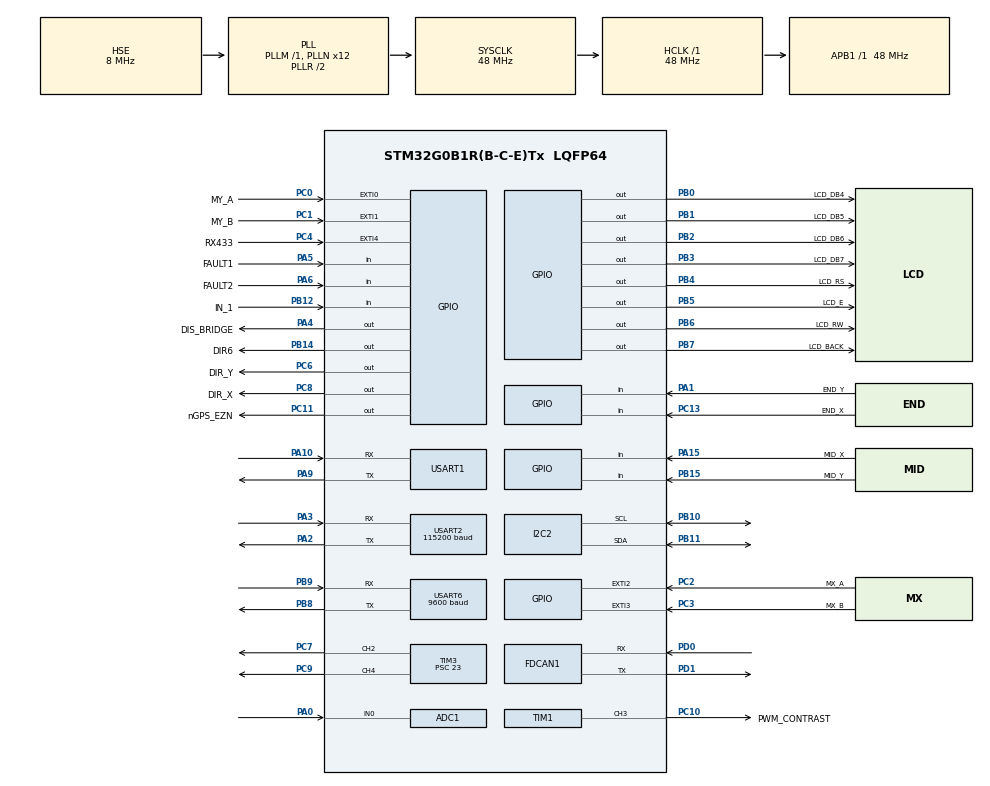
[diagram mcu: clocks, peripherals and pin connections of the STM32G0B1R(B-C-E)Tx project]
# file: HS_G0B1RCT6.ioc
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ADC1.Channel-0\#ChannelRegularConversion=ADC_CHANNEL_0
ADC1.NbrOfConversionFlag=1
ADC1.Rank-0\#ChannelRegularConversion=1
ADC1.SamplingTime=ADC1_SAMPLETIME_55CYCLES_5
ADC1.SamplingTime-0\#ChannelRegularConversion=ADC_SAMPLINGTIME_COMMON_1
ADC1.SelectedChannel=ADC_CHANNEL_0
ADC1.master=1
CRC.InputDataFormat=CRC_INPUTDATA_FORMAT_WORDS
FDCAN1.AutoRetransmission=ENABLE
FDCAN1.CalculateBaudRateNominal=125000
FDCAN1.CalculateTimeBitNominal=8000
FDCAN1.CalculateTimeQuantumNominal=500.0
FDCAN1.DataTimeSeg1=13
FDCAN1.DataTimeSeg2=2
FDCAN1.NominalPrescaler=24
FDCAN1.NominalTimeSeg1=13
FDCAN1.NominalTimeSeg2=2
FDCAN1.TxFifoQueueMode=FDCAN_TX_QUEUE_OPERATION
I2C2.Timing=0x10805D88
IWDG.Prescaler=IWDG_PRESCALER_32
Mcu.Family=STM32G0
Mcu.Name=STM32G0B1R(B-C-E)Tx
Mcu.Package=LQFP64
NVIC.EXTI0_1_IRQn=true\:0\:0\:false\:false\:true\:true\:true\:true
NVIC.EXTI2_3_IRQn=true\:0\:0\:false\:false\:true\:true\:true\:true
NVIC.EXTI4_15_IRQn=true\:1\:0\:true\:false\:true\:true\:true\:true
NVIC.TIM16_FDCAN_IT0_IRQn=true\:0\:0\:false\:false\:true\:true\:true\:true
NVIC.TIM6_DAC_LPTIM1_IRQn=true\:0\:0\:false\:false\:true\:true\:true\:true
NVIC.USART1_IRQn=true\:1\:0\:true\:false\:true\:true\:true\:true
NVIC.USART2_LPUART2_IRQn=true\:0\:0\:false\:false\:true\:true\:true\:true
NVIC.USART3_4_5_6_LPUART1_IRQn=true\:0\:0\:false\:false\:true\:true\:true\:true
PA0.Mode=IN0
PA0.Signal=ADC1_IN0
PA1.GPIO_Label=END_Y
PA1.Signal=GPIO_Input
PA10.Mode=Asynchronous
PA10.Signal=USART1_RX
PA13.Mode=Serial_Wire
PA13.Signal=SYS_SWDIO
PA14-BOOT0.Mode=Serial_Wire
PA14-BOOT0.Signal=SYS_SWCLK
PA15.GPIO_Label=MID_X
PA15.Signal=GPIO_Input
PA2.Mode=Asynchronous
PA2.Signal=USART2_TX
PA3.Mode=Asynchronous
PA3.Signal=USART2_RX
PA4.GPIO_Label=DIS_BRIDGE
PA4.PinState=GPIO_PIN_SET
PA4.Signal=GPIO_Output
PA5.GPIO_Label=FAULT1
PA5.Signal=GPIO_Input
PA6.GPIO_Label=FAULT2
PA6.GPIO_PuPd=GPIO_PULLUP
PA6.Signal=GPIO_Input
PA9.Mode=Asynchronous
PA9.Signal=USART1_TX
PB0.GPIO_Label=LCD_DB4
PB0.Signal=GPIO_Output
PB1.GPIO_Label=LCD_DB5
PB1.Signal=GPIO_Output
PB10.GPIO_Pu=GPIO_PULLUP
PB10.Mode=I2C
PB10.Signal=I2C2_SCL
PB11.GPIO_Pu=GPIO_PULLUP
PB11.Mode=I2C
PB11.Signal=I2C2_SDA
PB12.GPIO_Label=IN_1
PB12.Signal=GPIO_Input
PB14.GPIO_Label=DIR6
PB14.Signal=GPIO_Output
PB15.GPIO_Label=MID_Y
PB15.Signal=GPIO_Input
PB2.GPIO_Label=LCD_DB6
PB2.Signal=GPIO_Output
PB3.GPIO_Label=LCD_DB7
PB3.Signal=GPIO_Output
PB4.GPIO_Label=LCD_RS
PB4.Signal=GPIO_Output
PB5.GPIO_Label=LCD_E
PB5.Signal=GPIO_Output
PB6.GPIO_Label=LCD_RW
PB6.Signal=GPIO_Output
PB7.GPIO_Label=LCD_BACK
PB7.Signal=GPIO_Output
PB8.Mode=Asynchronous
PB8.Signal=USART6_TX
PB9.Mode=Asynchronous
PB9.Signal=USART6_RX
PC0.GPIO_Label=MY_A
PC0.GPIO_ModeDefaultEXTI=GPIO_MODE_IT_RISING_FALLING
PC0.Signal=GPXTI0
PC1.GPIO_Label=MY_B
PC1.GPIO_ModeDefaultEXTI=GPIO_MODE_IT_RISING_FALLING
PC1.Signal=GPXTI1
PC10.GPIO_Label=PWM_CONTRAST
PC10.Signal=S_TIM1_CH3
PC11.GPIO_Label=nGPS_EZN
PC11.Signal=GPIO_Output
PC13.GPIO_Label=END_X
PC13.Signal=GPIO_Input
PC14-OSC32_IN\ (PC14).Mode=LSE-External-Oscillator
PC14-OSC32_IN\ (PC14).Signal=RCC_OSC32_IN
PC15-OSC32_OUT\ (PC15).Mode=LSE-External-Oscillator
PC15-OSC32_OUT\ (PC15).Signal=RCC_OSC32_OUT
PC2.GPIO_Label=MX_A
PC2.GPIO_ModeDefaultEXTI=GPIO_MODE_IT_RISING_FALLING
PC2.Signal=GPXTI2
PC3.GPIO_Label=MX_B
PC3.GPIO_ModeDefaultEXTI=GPIO_MODE_IT_RISING_FALLING
PC3.Signal=GPXTI3
PC4.GPIO_Label=RX433
PC4.GPIO_ModeDefaultEXTI=GPIO_MODE_IT_RISING_FALLING
PC4.Signal=GPXTI4
PC6.GPIO_Label=DIR_Y
PC6.Signal=GPIO_Output
PC7.Signal=S_TIM3_CH2
PC8.GPIO_Label=DIR_X
PC8.Signal=GPIO_Output
PC9.Signal=S_TIM3_CH4
PD0.Mode=FDCAN_Activate
PD0.Signal=FDCAN1_RX
PD1.Mode=FDCAN_Activate
PD1.Signal=FDCAN1_TX
PF0-OSC_IN\ (PF0).Mode=HSE-External-Oscillator
PF0-OSC_IN\ (PF0).Signal=RCC_OSC_IN
PF1-OSC_OUT\ (PF1).Mode=HSE-External-Oscillator
PF1-OSC_OUT\ (PF1).Signal=RCC_OSC_OUT
ProjectManager.HeapSize=0x200
ProjectManager.StackSize=0x400
ProjectManager.TargetToolchain=STM32CubeIDE
RCC.ADCFreq_Value=48000000
RCC.AHBFreq_Value=48000000
RCC.APB1Freq_Value=48000000
RCC.APB1TimFreq_Value=48000000
RCC.CortexFreq_Value=48000000
RCC.EXTERNAL_CLOCK_VALUE=48000
RCC.HCLKFreq_Value=48000000
RCC.HSE_VALUE=8000000
RCC.HSI48_VALUE=48000000
RCC.HSI_VALUE=16000000
RCC.LSE_Timout=10000
RCC.PLLMUL=RCC_PLL_MUL6
RCC.PLLN=12
RCC.PLLSourceVirtual=RCC_PLLSOURCE_HSE
RCC.RTCClockSelection=RCC_RTCCLKSOURCE_LSE
RCC.SYSCLKFreq_VALUE=48000000
RCC.SYSCLKSource=RCC_SYSCLKSOURCE_PLLCLK
RCC.USBFreq_Value=48000000
RCC.VCOOutputFreq_Value=96000000
SH.S_TIM1_CH3.0=TIM1_CH3,PWM Generation3 CH3
SH.S_TIM3_CH2.0=TIM3_CH2,PWM Generation2 CH2
SH.S_TIM3_CH4.0=TIM3_CH4,PWM Generation4 CH4
TIM1.Channel-PWM\ Generation3\ CH3=TIM_CHANNEL_3
TIM1.Period=99
TIM1.Prescaler=23
TIM16.Period=4999
TIM16.Prescaler=47
TIM3.Channel-PWM\ Generation2\ CH2=TIM_CHANNEL_2
TIM3.Channel-PWM\ Generation4\ CH4=TIM_CHANNEL_4
TIM3.Period=99
TIM3.Prescaler=23
TIM6.Period=60000
TIM6.Prescaler=95
USART1.VirtualMode-Asynchronous=VM_ASYNC
USART2.BaudRate=115200
USART2.VirtualMode-Asynchronous=VM_ASYNC
USART6.BaudRate=9600
USART6.VirtualMode-Asynchronous=VM_ASYNC
VP_CRC_VS_CRC.Mode=CRC_Activate
VP_IWDG_VS_IWDG.Mode=IWDG_Activate
VP_RTC_VS_RTC_Activate.Mode=RTC_Enabled
VP_SYS_VS_DBSignals.Mode=DisableDeadBatterySignals
VP_TIM16_VS_ClockSourceINT.Mode=Enable_Timer
VP_TIM6_VS_ClockSourceINT.Mode=Enable_Timer
board=custom

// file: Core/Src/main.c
/* USER CODE BEGIN Header */
/**
 ******************************************************************************
 * @file           : main.c
 * @brief          : Main program body
 ******************************************************************************
 * @attention
 *
 * <h2><center>&copy; Copyright (c) 2019 STMicroelectronics.
 * All rights reserved.</center></h2>
 *
 * This software component is licensed by ST under BSD 3-Clause license,
 * the "License"; You may not use this file except in compliance with the
 * License. You may obtain a copy of the License at:
 *                        opensource.org/licenses/BSD-3-Clause
 *
 ******************************************************************************
 */
/* USER CODE END Header */
#include "main.h"
#include "adc.h"
#include "crc.h"
#include "fdcan.h"
#include "i2c.h"
#include "iwdg.h"
#include "rtc.h"
#include "tim.h"
#include "usart.h"
#include "gpio.h"

/* USER CODE BEGIN Includes */
#include "vars.h"
#include "shell.h"
#include "time.h"
#include "gps.h"
#include "motors.h"
#include "machine.h"
#include "remote.h"
#include "uart_sci.h"
#include "build_display.h"
#include "external_io.h"
#include "protection.h"
#include "can_functions.h"
#ifdef ENABLE_MODBUS
#include "modbus_cmd.h"
#endif

/* USER CODE END Includes */

/* USER CODE BEGIN PTD */

/*
 *
 *  _    _          _   _                 _                     _
 * | |  | |        | | (_)               | |                   | |
 * | |__| |   ___  | |  _    ___    ___  | |_    __ _    __ _  | |_
 * |  __  |  / _ \ | | | |  / _ \  / __| | __|  / _` |  / _` | | __|
 * | |  | | |  __/ | | | | | (_) | \__ \ | |_  | (_| | | (_| | | |_
 * |_|  |_|  \___| |_| |_|  \___/  |___/  \__|  \__,_|  \__,_|  \__|

 DESCRIPTION: Suntrack controller version 5.00

 REMARKS:

 arm-none-eabi-objcopy -O binary "${BuildArtifactFileBaseName}.elf" "${BuildArtifactFileBaseName}.bin" && arm-none-eabi-size "${BuildArtifactFileName}";${ProjDirPath}/writeCRC.exe "${BuildArtifactFileBaseName}.bin"

 - note: the CAN receiver has to be occupied, else startup delays

 NOTES
 CPU freq 48 Mhz
 Uart1 Onboard FTDI 115200
 Uart2 Modbus 115200
 Uart6 GPS 9600

 IRQ0	Y ENC_A
 IRQ1	Y ENC_B
 IRQ2	X ENC_A
 IRQ3	X ENC_A
 IRQ4 	RX_433
 IRQ12	BLE

 SPI0 3.0 mhz For motor debug
 I2C for eerom
 IWDT 40khz/4095/32 = 1.2 sec
 Timer3 PWM 20Khz 4ch Motors
 Timer16 PWM Remote control 5ms IRQ
 Timer17 contrast negative voltage generation

 TOOLS
 - CubeMX 6.1.1
 - AC6 System Workbench

 - HAL driver F0 V1.11.2

 PRINCIPE
 0x08000000 Bootloader 16K
 0x08004000 Application 24kb

 VERSION OVERVIEW:
 4.XX
 - early versions on Microchip 18F6722
 5.00 31-8-2019
 - fist edition
 - Save target screen change
 - manual adjust smaller jumps.
 5.01
 - disable UART2 when GPS poweroff
 5.02
 - enable remote after 5 second on ENDX/Y
 5.03
 - readout protection level 1
 5.04
 - tracking interval 10 seconds
 5.05
 - flexible hysterese
 5.06
 - counter clockwise mode 2 improved
 6.00
 - adoption for G070
 6.01
 -
 6.02
 - for both bridge drivers
 - solved the 4 missing chars of LCD
 - contrast default 30
 6.03
 - encoder debounce 1ms
 6.04
 - encoder debounce 2ms
 6.05
 - more windinfo on 'windpulse' command
 - only abort operating modes on maxwind.
 6.06
 - command targettime tg 23:00 for times actions
 - saving sun on target only if GPS sync
 - after factory sun and max first need to be set else 'please configure'
 - two remote controls possible
 - updated shell
 - target 1..5 by remote control 5..16 by command line
 6.07
 - added command turnback, the angle decidecrees it turn back at the end
 - optional Modbus, switched by changing the printing function pointer
 6.08
 - when max_windpulse is zero, disable wind function.
 6.09
 - at saving positions the maximum learned values has to be at least 10 decrees.
 - debouncing encoder uses not equal instead of +1ms for rollover risk
 - HAL Driver G0 V1.6.1
 - init disable bridge to off
 6.10
 - goto park not on sundown but on: out of range
 - limited motor power when goto park/ start of the day, default 50%
 6.11
 - debouncing the end switches
 - when position is out of learned values show calib hor/vert
 - global variables instead of pointer to them
 6.12
 - vars.max_pwm needs to be initialisized, starting the system with sundown went wrong
 6.13
 - Allow both GPRMC and GNRMC GPS/ GLONASS
 - no parking in Stop mode
 6.14
 - error on LCD if too long on end switch
 6.15
 - timers to 32, problem with zero detection
 6.16
 - modbus uses also 16 targets
 - more modbus commands
 7.00
 - moving to 256K micro and used Sampa for SUN and MOON calculation, CAN and Modbus (RS485)

 *
 */

/* USER CODE END PTD */

/* USER CODE BEGIN PV */
/* Private variables ---------------------------------------------------------*/

// Globals
vars_t vars;

/* USER CODE END PV */

void SystemClock_Config(void);
/* USER CODE BEGIN PFP */
/* Private function prototypes -----------------------------------------------*/
void SystemClock_Config(void);
static HAL_StatusTypeDef SetRDPLevel1(void);
static void printf_bridge_fault(void);

/* USER CODE END PFP */

/* USER CODE BEGIN 0 */

volatile const app_info_t __attribute__((section (".mySection"))) c_app_info =
{ .key = APP_KEY,    // Key
		.version = VERSION,    // Version
		.crc32 = 0xFFFFFFFF, // CCITT-CRC32
		.size = 0xFFFFFFFF, // File size
		.build_date = __DATE__,   // Build date
		.build_time = __TIME__,   // Build time
		. dummy =
		{ 0xFF, 0xFF, 0xFF } };

/* USER CODE END 0 */

int main(void)
{

  /* USER CODE BEGIN 1 */
	extern uint32_t _main_app_start_address;
	uint32_t AppAddr = (uint32_t) &_main_app_start_address;
	uint32_t *ram_key = (uint32_t*) RAM_KEY;

	char ch;

	// Vector relocatie
	SCB->VTOR = AppAddr;

  /* USER CODE END 1 */

  /* MCU Configuration--------------------------------------------------------*/

  /* Reset of all peripherals, Initializes the Flash interface and the Systick. */
  HAL_Init();

  /* Configure the system clock */
  SystemClock_Config();

  /* Initialize all configured peripherals */
  MX_GPIO_Init();
  MX_ADC1_Init();
  MX_CRC_Init();
  MX_I2C2_Init();
  MX_IWDG_Init();
  MX_RTC_Init();
  MX_TIM3_Init();
  MX_TIM6_Init();
  MX_TIM16_Init();
  MX_USART1_UART_Init();
  MX_USART2_UART_Init();
  MX_USART6_UART_Init();
  MX_FDCAN1_Init();
  MX_TIM1_Init();
  /* USER CODE BEGIN 2 */

	// set protection level 1
//	SetRDPLevel1();
	__enable_irq();

	wdt_clr();

	init_sci();
	timer_open();

	shell_open();

	sh_ver(NULL);

	FDCAN_Config();

	if (RCC->CSR & RCC_CSR_IWDGRSTF)
		tty_printf("WDT reboot\r\n");

	RCC->CSR = RCC_CSR_RMVF;

	if (sizeof(hw_info_t) > FLASH_PAGE_SIZE)
		tty_printf("  ERR flashvar size overflow\r\n");

	init_vars();

	// Timer for contrast
	HAL_TIM_PWM_Start(&htim1, TIM_CHANNEL_3);

	set_x_pwm(0);
	set_y_pwm(0);

	HAL_TIM_PWM_Start(&htim3, TIM_CHANNEL_2);
	HAL_TIM_PWM_Start(&htim3, TIM_CHANNEL_4);

	// AYCT102
	__HAL_TIM_SET_COUNTER(&htim16, 0);
	HAL_TIM_Base_Start_IT(&htim16); // Start Timer 10 IRQ

#ifdef RELEASE_BUILD
	// If serial number is valid continue

	if (!check_quick())
		tty_printf("  ERR Wrong firmware version\r\n");

	while (!check_quick())
		wdt_clr();

	if (stm_serial() != vars.hwinfo.stm_serial)
	{
		tty_printf("  ERR firmware corrupt\r\n");
		while (1)
			wdt_clr();
	}

#else
	set_protection();
	while (1)
	{
		HAL_Delay(10);
		wdt_clr();
	}

#endif

	//GPS_1;
	gps_power(true);

	*ram_key = 0;

  /* USER CODE END 2 */

  /* Infinite loop */
	while (1)
	{

    /* USER CODE BEGIN 3 */
		wdt_clr();

	//	printf_bridge_fault();

		if (vars.gps_debug)
		{
			if (sci6_getch(&ch))
				sci1_putc(ch);
		}
		else
		{
			// get GPS data, true on SYNC
			if ((vars.gps_decode = gps_process(&vars.hwinfo.home_location)) == DECODING_RDY)
			{
				if (vars.eevar.main_mode == ST_WAIT_GPS)
				{
					// New GPS value, restore valid operating mode
					if (vars.store_main_mode > ST_STOP)
						vars.eevar.main_mode = ST_STOP;
					else
						vars.eevar.main_mode = vars.store_main_mode;

					if (vars.screen_tmr == NO_TIMER)
						vars.screen_tmr = timer_get();
					timer_start(vars.screen_tmr, SCREEN_ON_TIME, NULL);
					time_stamp();
					tty_printf("GPS SYNC\r\n");
				}
			}
		}

		// place in TFT library
		if (timer_elapsed(vars.screen_tmr) && (vars.gps_decode == DECODING_RDY) && (vars.screen_lcd != LCD_ERROR))
			LCD_BACK_OFF;

		// command shell
		shell_process();

		// calculate the motors
		motor_process();

		// remote control
		remote_ctrl_process();

		// main process
		machine_process();

		// 4x20 Display
		process_display();

		// Wind pulse counter, options
		external_io_functions();

#ifdef ENABLE_MODBUS
		process_modbus_slave();

//		char ch;
//		if (sci2_getch(&ch))
//		{
//			sci2_putc(ch);
//			sci1_putc(ch);
//
//		}
#endif

	}
  /* USER CODE END 3 */
}

void SystemClock_Config(void)
{
  RCC_OscInitTypeDef RCC_OscInitStruct = {0};
  RCC_ClkInitTypeDef RCC_ClkInitStruct = {0};

  /** Configure the main internal regulator output voltage
  */
  HAL_PWREx_ControlVoltageScaling(PWR_REGULATOR_VOLTAGE_SCALE1);

  /** Configure LSE Drive Capability
  */
  HAL_PWR_EnableBkUpAccess();
  __HAL_RCC_LSEDRIVE_CONFIG(RCC_LSEDRIVE_LOW);

  /** Initializes the RCC Oscillators according to the specified parameters
  * in the RCC_OscInitTypeDef structure.
  */
  RCC_OscInitStruct.OscillatorType = RCC_OSCILLATORTYPE_LSI|RCC_OSCILLATORTYPE_HSE
                              |RCC_OSCILLATORTYPE_LSE;
  RCC_OscInitStruct.HSEState = RCC_HSE_ON;
  RCC_OscInitStruct.LSEState = RCC_LSE_ON;
  RCC_OscInitStruct.LSIState = RCC_LSI_ON;
  RCC_OscInitStruct.PLL.PLLState = RCC_PLL_ON;
  RCC_OscInitStruct.PLL.PLLSource = RCC_PLLSOURCE_HSE;
  RCC_OscInitStruct.PLL.PLLM = RCC_PLLM_DIV1;
  RCC_OscInitStruct.PLL.PLLN = 12;
  RCC_OscInitStruct.PLL.PLLP = RCC_PLLP_DIV2;
  RCC_OscInitStruct.PLL.PLLQ = RCC_PLLQ_DIV2;
  RCC_OscInitStruct.PLL.PLLR = RCC_PLLR_DIV2;
  if (HAL_RCC_OscConfig(&RCC_OscInitStruct) != HAL_OK)
  {
    Error_Handler();
  }

  /** Initializes the CPU, AHB and APB buses clocks
  */
  RCC_ClkInitStruct.ClockType = RCC_CLOCKTYPE_HCLK|RCC_CLOCKTYPE_SYSCLK
                              |RCC_CLOCKTYPE_PCLK1;
  RCC_ClkInitStruct.SYSCLKSource = RCC_SYSCLKSOURCE_PLLCLK;
  RCC_ClkInitStruct.AHBCLKDivider = RCC_SYSCLK_DIV1;
  RCC_ClkInitStruct.APB1CLKDivider = RCC_HCLK_DIV1;

  if (HAL_RCC_ClockConfig(&RCC_ClkInitStruct, FLASH_LATENCY_1) != HAL_OK)
  {
    Error_Handler();
  }
}

/* USER CODE BEGIN 4 */

/**
 * @brief  This function is executed in case of error occurrence.
 * @param  file: The file name as string.
 * @param  line: The line in file as a number.
 * @retval None
 */
void _Error_Handler(char *file, int line)
{
	tty_printf("Error file %s line %d\r\n", file, line);
	while (1)
	{
	}
}

/**
 * Check if RDP Level is 1. Update if necessary.
 */
static HAL_StatusTypeDef SetRDPLevel1(void)
{
	FLASH_OBProgramInitTypeDef obInit;

	HAL_FLASHEx_OBGetConfig(&obInit);
	if (obInit.RDPLevel != OB_RDP_LEVEL_1)
	{
		obInit.OptionType = OPTIONBYTE_RDP;
		obInit.RDPLevel = OB_RDP_LEVEL_1;

		HAL_FLASH_Unlock();
		HAL_FLASH_OB_Unlock();

		// Program the new option bytes
		if (HAL_FLASHEx_OBProgram(&obInit) != HAL_OK)
		{
			HAL_FLASH_OB_Lock();
			HAL_FLASH_Lock();
			return HAL_ERROR;
		}

		// Launch the OB reload
		if (HAL_FLASH_OB_Launch() != HAL_OK)
		{
			HAL_FLASH_OB_Lock();
			HAL_FLASH_Lock();
			return HAL_ERROR;
		}

		// Lock again
		HAL_FLASH_OB_Lock();
		HAL_FLASH_Lock();
	}
}

static void printf_bridge_fault(void)
{
	static bool old1 = 1, old2 = 1;
	static uint8_t fault_tmr = NO_TIMER;
	static uint8_t nfault_tmr = NO_TIMER;

	if (isFAULT_1 || isFAULT_2)
	{
		timer_free(&nfault_tmr);
		if (fault_tmr == NO_TIMER)
		{
			fault_tmr = timer_get();
			timer_start(fault_tmr, 500, NULL);
		}
	}
	else
	{
		timer_free(&fault_tmr);
		if (nfault_tmr == NO_TIMER)
		{
			nfault_tmr = timer_get();
			timer_start(nfault_tmr, 500, NULL);
		}
	}

	if (timer_elapsed(fault_tmr) || timer_elapsed(nfault_tmr))
	{
		if (old1 != isFAULT_1)
		{
			old1 = isFAULT_1;
			tty_printf(" ERR Fault1 %d\r\n", isFAULT_1);
		}
		if (old2 != isFAULT_2)
		{
			old2 = isFAULT_2;
			tty_printf(" ERR Fault2 %d\r\n", isFAULT_2);
		}
	}
}

/* USER CODE END 4 */

void Error_Handler(void)
{
  /* USER CODE BEGIN Error_Handler_Debug */
	/* User can add his own implementation to report the HAL error return state */
	printf("Error_Handler\r\n");

	while (1)
	{
	}
  /* USER CODE END Error_Handler_Debug */
}
